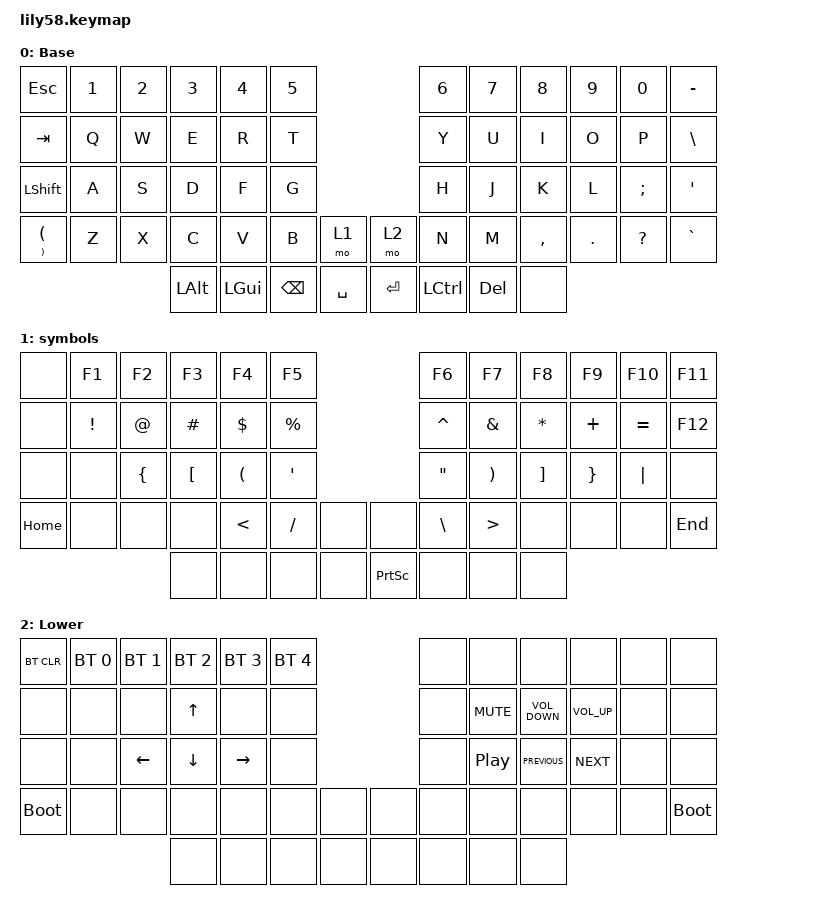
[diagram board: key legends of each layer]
/*
 * Copyright (c) 2020 The ZMK Contributors
 *
 * SPDX-License-Identifier: MIT
 */

#include <behaviors.dtsi>
#include <dt-bindings/zmk/bt.h>
#include <dt-bindings/zmk/keys.h>

/ {
    keymap {
        compatible = "zmk,keymap";

        default_layer {
            // ------------------------------------------------------------------------------------------------------------
            // |  ESC  |  1  |  2  |  3   |  4   |  5   |                   |  6   |  7    |  8    |  9   |   0   |   `   |
            // |  TAB  |  Q  |  W  |  E   |  R   |  T   |                   |  Y   |  U    |  I    |  O   |   P   |   -   |
            // |  CTRL |  A  |  S  |  D   |  F   |  G   |                   |  H   |  J    |  K    |  L   |   ;   |   '   |
            // | SHIFT |  Z  |  X  |  C   |  V   |  B   |   "["  |  |  "]"  |  N   |  M    |  ,    |  .   |   /   | SHIFT |
            //                     | ALT  | GUI  | LOWER|  SPACE |  | ENTER | RAISE| BSPC  | GUI   |

            display-name = "Base";
            bindings = <
&kp ESC                                 &kp N1  &kp N2  &kp N3    &kp N4    &kp N5                               &kp N6     &kp N7      &kp N8     &kp N9   &kp N0        &kp MINUS
&kp TAB                                 &kp Q   &kp W   &kp E     &kp R     &kp T                                &kp Y      &kp U       &kp I      &kp O    &kp P         &kp BACKSLASH
&kp LSHIFT                              &kp A   &kp S   &kp D     &kp F     &kp G                                &kp H      &kp J       &kp K      &kp L    &kp SEMI      &kp SQT
&mt RIGHT_PARENTHESIS LEFT_PARENTHESIS  &kp Z   &kp X   &kp C     &kp V     &kp B          &mo 1        &mo 2    &kp N      &kp M       &kp COMMA  &kp DOT  &kp QUESTION  &kp GRAVE
                                                        &kp LALT  &kp LGUI  &kp BACKSPACE  &kp SPACE    &kp RET  &kp LCTRL  &kp DELETE  &none
            >;
        };

        symbols {
            bindings = <
&none     &kp F1    &kp F2          &kp F3    &kp F4                &kp F5                                      &kp F6             &kp F7                 &kp F8        &kp F9           &kp F10    &kp F11
&none     &kp EXCL  &kp AT          &kp HASH  &kp DOLLAR            &kp PERCENT                                 &kp CARET          &kp AMPERSAND          &kp ASTERISK  &kp PLUS         &kp EQUAL  &kp F12
&none     &none     &kp LEFT_BRACE  &kp LBKT  &kp LEFT_PARENTHESIS  &kp SINGLE_QUOTE                            &kp DOUBLE_QUOTES  &kp RIGHT_PARENTHESIS  &kp RBKT      &kp RIGHT_BRACE  &kp PIPE   &none
&kp HOME  &none     &none           &none     &kp LESS_THAN         &kp SLASH         &none    &none            &kp BACKSLASH      &kp GREATER_THAN       &none         &none            &none      &kp END
                                    &none     &none                 &none             &none    &kp PRINTSCREEN  &none              &none                  &none
            >;
        };

        sysctl {
            // ------------------------------------------------------------------------------------------------------------
            // | BTCLR | BT1 | BT2 |  BT3 |  BT4 |  BT5 |                   |      |       |       |      |       |       |
            // |  F1   |  F2 |  F3 |  F4  |  F5  |  F6  |                   |  F7  |  F8   |  F9   |  F10 |  F11  |  F12  |
            // |   `   |  !  |  @  |  #   |  $   |  %   |                   |  ^   |  &    |  *    |  (   |   )   |   ~   |
            // |       |     |     |      |      |      |        |  |       |      |  _    |  +    |  {   |   }   |  "|"  |
            //                     |      |      |      |        |  |       |      |       |       |

            display-name = "Lower";
            bindings = <
&bt BT_CLR   &bt BT_SEL 0  &bt BT_SEL 1    &bt BT_SEL 2    &bt BT_SEL 3     &bt BT_SEL 4                  &none  &none             &none              &none            &none  &none
&none        &none         &none           &kp UP_ARROW    &none            &none                         &none  &kp C_MUTE        &kp C_VOLUME_DOWN  &kp C_VOLUME_UP  &none  &none
&none        &none         &kp LEFT_ARROW  &kp DOWN_ARROW  &kp RIGHT_ARROW  &none                         &none  &kp C_PLAY_PAUSE  &kp C_PREVIOUS     &kp C_NEXT       &none  &none
&bootloader  &none         &none           &none           &none            &none         &none    &none  &none  &none             &none              &none            &none  &bootloader
                                           &none           &none            &none         &none    &none  &none  &none             &none
            >;
        };
    };
};
